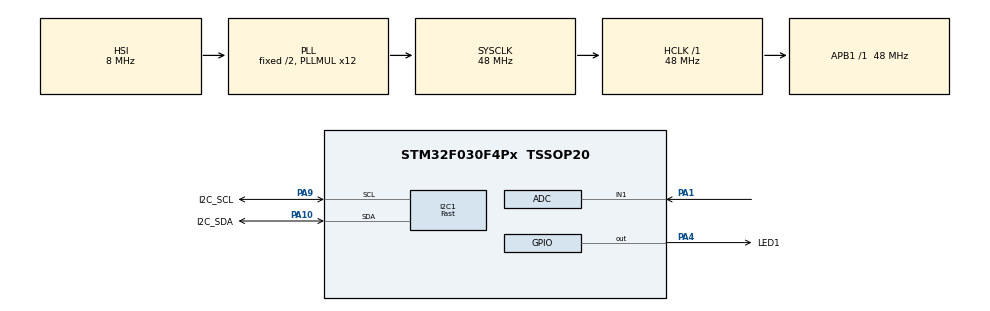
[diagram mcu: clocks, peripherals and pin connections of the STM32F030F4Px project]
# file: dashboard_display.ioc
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ADC.Resolution=ADC_RESOLUTION_8B
FREERTOS.Tasks01=defaultTask,0,96,StartDefaultTask,Default,NULL
I2C1.Analog_Filter=I2C_ANALOGFILTER_DISABLE
I2C1.I2C_Speed_Mode=I2C_Fast
I2C1.NoStretchMode=I2C_NOSTRETCH_ENABLE
I2C1.OwnAddress=0x3b
I2C1.Speed=400
I2C1.Timing=0x00401A58
IWDG.Prescaler=IWDG_PRESCALER_32
IWDG.Reload=250
Mcu.Family=STM32F0
Mcu.Name=STM32F030F4Px
Mcu.Package=TSSOP20
NVIC.I2C1_IRQn=true\:3\:0\:false\:false\:true\:true\:true
NVIC.TIM3_IRQn=true\:0\:0\:false\:false\:true\:false\:false
NVIC.TimeBase=TIM3_IRQn
NVIC.TimeBaseIP=TIM3
PA1.Mode=IN1
PA1.Signal=ADC_IN1
PA10.GPIO_Label=I2C_SDA
PA10.Mode=I2C
PA10.Signal=I2C1_SDA
PA13.Mode=Serial_Wire
PA13.Signal=SYS_SWDIO
PA14.Mode=Serial_Wire
PA14.Signal=SYS_SWCLK
PA4.GPIO_Label=LED1
PA4.Signal=GPIO_Output
PA9.GPIO_Label=I2C_SCL
PA9.Mode=I2C
PA9.Signal=I2C1_SCL
ProjectManager.HeapSize=0x200
ProjectManager.StackSize=0x400
ProjectManager.TargetToolchain=MDK-ARM V5
RCC.AHBFreq_Value=48000000
RCC.APB1Freq_Value=48000000
RCC.APB1TimFreq_Value=48000000
RCC.HCLKFreq_Value=48000000
RCC.I2c1ClockSelection=RCC_I2C1CLKSOURCE_SYSCLK
RCC.PLLMUL=RCC_PLL_MUL12
RCC.SYSCLKFreq_VALUE=48000000
RCC.SYSCLKSource=RCC_SYSCLKSOURCE_PLLCLK
VP_FREERTOS_VS_ENABLE.Mode=Enabled
VP_IWDG_VS_IWDG.Mode=IWDG_Activate
VP_SYS_VS_tim3.Mode=TIM3
board=dashboard_display

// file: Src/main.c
/**
  ******************************************************************************
  * @file           : main.c
  * @brief          : Main program body
  ******************************************************************************
  * This notice applies to any and all portions of this file
  * that are not between comment pairs USER CODE BEGIN and
  * USER CODE END. Other portions of this file, whether
  * inserted by the user or by software development tools
  * are owned by their respective copyright owners.
  *
  * Copyright (c) 2019 STMicroelectronics International N.V.
  * All rights reserved.
  *
  * Redistribution and use in source and binary forms, with or without
  * modification, are permitted, provided that the following conditions are met:
  *
  * 1. Redistribution of source code must retain the above copyright notice,
  *    this list of conditions and the following disclaimer.
  * 2. Redistributions in binary form must reproduce the above copyright notice,
  *    this list of conditions and the following disclaimer in the documentation
  *    and/or other materials provided with the distribution.
  * 3. Neither the name of STMicroelectronics nor the names of other
  *    contributors to this software may be used to endorse or promote products
  *    derived from this software without specific written permission.
  * 4. This software, including modifications and/or derivative works of this
  *    software, must execute solely and exclusively on microcontroller or
  *    microprocessor devices manufactured by or for STMicroelectronics.
  * 5. Redistribution and use of this software other than as permitted under
  *    this license is void and will automatically terminate your rights under
  *    this license.
  *
  * THIS SOFTWARE IS PROVIDED BY STMICROELECTRONICS AND CONTRIBUTORS "AS IS"
  * AND ANY EXPRESS, IMPLIED OR STATUTORY WARRANTIES, INCLUDING, BUT NOT
  * LIMITED TO, THE IMPLIED WARRANTIES OF MERCHANTABILITY, FITNESS FOR A
  * PARTICULAR PURPOSE AND NON-INFRINGEMENT OF THIRD PARTY INTELLECTUAL PROPERTY
  * RIGHTS ARE DISCLAIMED TO THE FULLEST EXTENT PERMITTED BY LAW. IN NO EVENT
  * SHALL STMICROELECTRONICS OR CONTRIBUTORS BE LIABLE FOR ANY DIRECT, INDIRECT,
  * INCIDENTAL, SPECIAL, EXEMPLARY, OR CONSEQUENTIAL DAMAGES (INCLUDING, BUT NOT
  * LIMITED TO, PROCUREMENT OF SUBSTITUTE GOODS OR SERVICES; LOSS OF USE, DATA,
  * OR PROFITS; OR BUSINESS INTERRUPTION) HOWEVER CAUSED AND ON ANY THEORY OF
  * LIABILITY, WHETHER IN CONTRACT, STRICT LIABILITY, OR TORT (INCLUDING
  * NEGLIGENCE OR OTHERWISE) ARISING IN ANY WAY OUT OF THE USE OF THIS SOFTWARE,
  * EVEN IF ADVISED OF THE POSSIBILITY OF SUCH DAMAGE.
  *
  ******************************************************************************
  */
#include "main.h"
#include "stm32f0xx_hal.h"
#include "cmsis_os.h"

/* USER CODE BEGIN Includes */
#include "nokia5110_LCD.h"
#include "stdio.h"
#include "logos.h"
/* USER CODE END Includes */

ADC_HandleTypeDef hadc;

I2C_HandleTypeDef hi2c1;

IWDG_HandleTypeDef hiwdg;

osThreadId defaultTaskHandle;

/* USER CODE BEGIN PV */
/* Private variables ---------------------------------------------------------*/
 uint8_t contrast;
/* USER CODE END PV */

void SystemClock_Config(void);
static void MX_GPIO_Init(void);
static void MX_I2C1_Init(void);
static void MX_IWDG_Init(void);
static void MX_ADC_Init(void);
void StartDefaultTask(void const * argument);

/* USER CODE BEGIN PFP */
/* Private function prototypes -----------------------------------------------*/
uint8_t readADC(void);
void LedBlink(void);
void LCD_Init_Pins(void);
/* USER CODE END PFP */

/* USER CODE BEGIN 0 */
long map(long x, long in_min, long in_max, long out_min, long out_max)
{
	if( x == in_max)
		return out_max;
	else if(out_min < out_max)
		return (x - in_min) * (out_max - out_min+1) / (in_max - in_min) + out_min;
	else
		return (x - in_min) * (out_max - out_min-1) / (in_max - in_min) + out_min;
}
/* USER CODE END 0 */

int main(void)
{

  /* MCU Configuration----------------------------------------------------------*/

  /* Reset of all peripherals, Initializes the Flash interface and the Systick. */
  HAL_Init();

  /* USER CODE BEGIN Init */
  //for (int i=0; i< 48000000/70; i++);
  /* USER CODE END Init */

  /* Configure the system clock */
  SystemClock_Config();

  /* USER CODE BEGIN SysInit */
  //
	MX_ADC_Init();
	uint8_t temp = 0x30 + 	(0xff/(0x40-0x30));

	for (int i=0; i< 48000000/70; i++);
	temp =  readADC();
	contrast = (uint8_t) map(temp, 0L, 0xffL, 0x30L, 0x40L);
  /* USER CODE END SysInit */

  /* Initialize all configured peripherals */
  MX_GPIO_Init();
  MX_I2C1_Init();
  MX_IWDG_Init();

  /* Create the thread(s) */
  /* definition and creation of defaultTask */
  osThreadDef(defaultTask, StartDefaultTask, osPriorityNormal, 0, 96);
  defaultTaskHandle = osThreadCreate(osThread(defaultTask), NULL);

  /* Start scheduler */
  osKernelStart();

  /* We should never get here as control is now taken by the scheduler */

  /* Infinite loop */
  while (1)
  {

  }

}

void SystemClock_Config(void)
{

  RCC_OscInitTypeDef RCC_OscInitStruct;
  RCC_ClkInitTypeDef RCC_ClkInitStruct;
  RCC_PeriphCLKInitTypeDef PeriphClkInit;

    /**Initializes the CPU, AHB and APB busses clocks
    */
  RCC_OscInitStruct.OscillatorType = RCC_OSCILLATORTYPE_HSI|RCC_OSCILLATORTYPE_HSI14
                              |RCC_OSCILLATORTYPE_LSI;
  RCC_OscInitStruct.HSIState = RCC_HSI_ON;
  RCC_OscInitStruct.HSI14State = RCC_HSI14_ON;
  RCC_OscInitStruct.HSICalibrationValue = 16;
  RCC_OscInitStruct.HSI14CalibrationValue = 16;
  RCC_OscInitStruct.LSIState = RCC_LSI_ON;
  RCC_OscInitStruct.PLL.PLLState = RCC_PLL_ON;
  RCC_OscInitStruct.PLL.PLLSource = RCC_PLLSOURCE_HSI;
  RCC_OscInitStruct.PLL.PLLMUL = RCC_PLL_MUL12;
  RCC_OscInitStruct.PLL.PREDIV = RCC_PREDIV_DIV1;
  if (HAL_RCC_OscConfig(&RCC_OscInitStruct) != HAL_OK)
  {
    _Error_Handler(__FILE__, __LINE__);
  }

    /**Initializes the CPU, AHB and APB busses clocks
    */
  RCC_ClkInitStruct.ClockType = RCC_CLOCKTYPE_HCLK|RCC_CLOCKTYPE_SYSCLK
                              |RCC_CLOCKTYPE_PCLK1;
  RCC_ClkInitStruct.SYSCLKSource = RCC_SYSCLKSOURCE_PLLCLK;
  RCC_ClkInitStruct.AHBCLKDivider = RCC_SYSCLK_DIV1;
  RCC_ClkInitStruct.APB1CLKDivider = RCC_HCLK_DIV1;

  if (HAL_RCC_ClockConfig(&RCC_ClkInitStruct, FLASH_LATENCY_1) != HAL_OK)
  {
    _Error_Handler(__FILE__, __LINE__);
  }

  PeriphClkInit.PeriphClockSelection = RCC_PERIPHCLK_I2C1;
  PeriphClkInit.I2c1ClockSelection = RCC_I2C1CLKSOURCE_SYSCLK;
  if (HAL_RCCEx_PeriphCLKConfig(&PeriphClkInit) != HAL_OK)
  {
    _Error_Handler(__FILE__, __LINE__);
  }

    /**Configure the Systick interrupt time
    */
  HAL_SYSTICK_Config(HAL_RCC_GetHCLKFreq()/1000);

    /**Configure the Systick
    */
  HAL_SYSTICK_CLKSourceConfig(SYSTICK_CLKSOURCE_HCLK);

  /* SysTick_IRQn interrupt configuration */
  HAL_NVIC_SetPriority(SysTick_IRQn, 3, 0);
}

/* ADC init function */
static void MX_ADC_Init(void)
{

  ADC_ChannelConfTypeDef sConfig;

    /**Configure the global features of the ADC (Clock, Resolution, Data Alignment and number of conversion)
    */
  hadc.Instance = ADC1;
  hadc.Init.ClockPrescaler = ADC_CLOCK_ASYNC_DIV1;
  hadc.Init.Resolution = ADC_RESOLUTION_8B;
  hadc.Init.DataAlign = ADC_DATAALIGN_RIGHT;
  hadc.Init.ScanConvMode = ADC_SCAN_DIRECTION_FORWARD;
  hadc.Init.EOCSelection = ADC_EOC_SINGLE_CONV;
  hadc.Init.LowPowerAutoWait = DISABLE;
  hadc.Init.LowPowerAutoPowerOff = DISABLE;
  hadc.Init.ContinuousConvMode = DISABLE;
  hadc.Init.DiscontinuousConvMode = DISABLE;
  hadc.Init.ExternalTrigConv = ADC_SOFTWARE_START;
  hadc.Init.ExternalTrigConvEdge = ADC_EXTERNALTRIGCONVEDGE_NONE;
  hadc.Init.DMAContinuousRequests = DISABLE;
  hadc.Init.Overrun = ADC_OVR_DATA_PRESERVED;
  if (HAL_ADC_Init(&hadc) != HAL_OK)
  {
    _Error_Handler(__FILE__, __LINE__);
  }

    /**Configure for the selected ADC regular channel to be converted.
    */
  sConfig.Channel = ADC_CHANNEL_1;
  sConfig.Rank = ADC_RANK_CHANNEL_NUMBER;
  sConfig.SamplingTime = ADC_SAMPLETIME_1CYCLE_5;
  if (HAL_ADC_ConfigChannel(&hadc, &sConfig) != HAL_OK)
  {
    _Error_Handler(__FILE__, __LINE__);
  }

}

/* I2C1 init function */
static void MX_I2C1_Init(void)
{

  hi2c1.Instance = I2C1;
  hi2c1.Init.Timing = 0x00401A58;
  hi2c1.Init.OwnAddress1 = 118;
  hi2c1.Init.AddressingMode = I2C_ADDRESSINGMODE_7BIT;
  hi2c1.Init.DualAddressMode = I2C_DUALADDRESS_DISABLE;
  hi2c1.Init.OwnAddress2 = 0;
  hi2c1.Init.OwnAddress2Masks = I2C_OA2_NOMASK;
  hi2c1.Init.GeneralCallMode = I2C_GENERALCALL_DISABLE;
  hi2c1.Init.NoStretchMode = I2C_NOSTRETCH_ENABLE;
  if (HAL_I2C_Init(&hi2c1) != HAL_OK)
  {
    _Error_Handler(__FILE__, __LINE__);
  }

    /**Configure Analogue filter
    */
  if (HAL_I2CEx_ConfigAnalogFilter(&hi2c1, I2C_ANALOGFILTER_DISABLE) != HAL_OK)
  {
    _Error_Handler(__FILE__, __LINE__);
  }

    /**Configure Digital filter
    */
  if (HAL_I2CEx_ConfigDigitalFilter(&hi2c1, 0) != HAL_OK)
  {
    _Error_Handler(__FILE__, __LINE__);
  }

}

/* IWDG init function */
static void MX_IWDG_Init(void)
{

  hiwdg.Instance = IWDG;
  hiwdg.Init.Prescaler = IWDG_PRESCALER_32;
  hiwdg.Init.Window = 4095;
  hiwdg.Init.Reload = 1000;
  if (HAL_IWDG_Init(&hiwdg) != HAL_OK)
  {
    _Error_Handler(__FILE__, __LINE__);
  }

}

/** Configure pins as
        * Analog
        * Input
        * Output
        * EVENT_OUT
        * EXTI
*/
static void MX_GPIO_Init(void)
{

  GPIO_InitTypeDef GPIO_InitStruct;

  /* GPIO Ports Clock Enable */
  __HAL_RCC_GPIOA_CLK_ENABLE();

  /*Configure GPIO pin Output Level */
  HAL_GPIO_WritePin(LED1_GPIO_Port, LED1_Pin, GPIO_PIN_RESET);

  /*Configure GPIO pin : LED1_Pin */
  GPIO_InitStruct.Pin = LED1_Pin;
  GPIO_InitStruct.Mode = GPIO_MODE_OUTPUT_PP;
  GPIO_InitStruct.Pull = GPIO_NOPULL;
  GPIO_InitStruct.Speed = GPIO_SPEED_FREQ_LOW;
  HAL_GPIO_Init(LED1_GPIO_Port, &GPIO_InitStruct);

}

/* USER CODE BEGIN 4 */
uint8_t readADC(){
  HAL_ADC_Start(&hadc);
  if(HAL_ADC_PollForConversion(&hadc,10000)!=HAL_OK) return 0;

  return (uint8_t)HAL_ADC_GetValue(&hadc);
}
void LCD_Init_Pins(){
  /* GPIO Ports Clock Enable */
  __HAL_RCC_GPIOA_CLK_ENABLE();
    GPIO_InitTypeDef GPIO_InitStruct;

  /*Configure GPIO pin Output Level */
  HAL_GPIO_WritePin(LCD_PORT, LCD_CE|LCD_RST|LCD_DC|LCD_DIN|LCD_CK, GPIO_PIN_RESET);
  /*Configure GPIO pin : LCD_XXX */
  GPIO_InitStruct.Pin = LCD_CE|LCD_RST|LCD_DC|LCD_DIN|LCD_CK;
  GPIO_InitStruct.Mode = GPIO_MODE_OUTPUT_PP;
  GPIO_InitStruct.Pull = GPIO_PULLDOWN;
  GPIO_InitStruct.Speed = GPIO_SPEED_FREQ_LOW;
  HAL_GPIO_Init(LCD_PORT, &GPIO_InitStruct);

  LCD_setRST(LCD_PORT, LCD_RST);
  LCD_setCE(LCD_PORT, LCD_CE);
  LCD_setDC(LCD_PORT, LCD_DC);
  LCD_setDIN(LCD_PORT, LCD_DIN);
  LCD_setCLK(LCD_PORT, LCD_CK);
  LCD_init();
}

uint8_t pdata_1[15];
uint8_t pdata_2[15];
uint8_t pdata_cmd[2];
static uint8_t *pdata=pdata_cmd;
static uint32_t frame_type=I2C_LAST_FRAME;
static uint8_t size=2;

void HAL_I2C_AddrCallback(I2C_HandleTypeDef *hi2c, uint8_t direction, uint16_t addrMatchCode) {
    HAL_I2C_Slave_Sequential_Receive_IT(hi2c, pdata, size, frame_type);
}

void HAL_I2C_SlaveRxCpltCallback(I2C_HandleTypeDef *hi2c) {

  if(pdata_cmd[0] == 0x00)
  {
  switch (pdata_cmd[1])
  {
  case 0x82:
    pdata=pdata_1;
    size=15;
    pdata_cmd[1]=0xC2;
    frame_type=I2C_NEXT_FRAME;
    break;
  case 0xC2:
    pdata=pdata_2;
    size=15;
    pdata_cmd[1]=0;
    frame_type=I2C_NEXT_FRAME;
    break;
  default:
    size=2;
    pdata=pdata_cmd;
    frame_type=I2C_LAST_FRAME;
    HAL_IWDG_Refresh(&hiwdg);
    break;
  }
  }
}

void HAL_I2C_ListenCpltCallback(I2C_HandleTypeDef *hi2c) {
	HAL_I2C_EnableListen_IT(hi2c); // Restart listening
}

void HAL_I2C_ErrorCallback(I2C_HandleTypeDef *hi2c) {
	if (HAL_I2C_GetError(hi2c) != HAL_I2C_ERROR_AF) {
		//Error();
	}
}

#define SLAVE_ADDRESS 0x3b
uint8_t data=0x35;
uint8_t pdisp_buff_1[15];
uint8_t pdisp_buff_2[15];
uint8_t ptest_data[]={0x46, 0x4f, 0x56, 0x5f,0x65, 0x6D,0x75, 0x7D};
void lcd_print_dash_board(char *pd, uint8_t len, uint8_t x, uint8_t y){
  LCD_goXY(x, y);
  do
  {
    dashb_to_lcd_char(*pd);
    len--;
    pd++;
  }
  while(len && pd) ;
}
/* USER CODE END 4 */

/* StartDefaultTask function */
void StartDefaultTask(void const * argument)
{

  /* USER CODE BEGIN 5 */
  /* Infinite loop */
  HAL_IWDG_Refresh(&hiwdg);
  HAL_I2C_EnableListen_IT(&hi2c1);
  HAL_I2C_Slave_Sequential_Receive_IT(&hi2c1, pdata, size, I2C_NEXT_FRAME);
  LCD_Init_Pins();
  HAL_IWDG_Refresh(&hiwdg);
  LCD_drawBitMap((char*)ford_logo_84x48);
  vTaskDelay(900);
  HAL_IWDG_Refresh(&hiwdg);
  LCD_clrScr();
  for(;;)
  {

   HAL_GPIO_WritePin(LED1_GPIO_Port, LED1_Pin, GPIO_PIN_RESET);

   for(int i=0; i< 15; i++){
    pdisp_buff_1[i] = pdata_1[i];
    pdisp_buff_2[i] = pdata_2[i];
   }
   lcd_print_dash_board((char*)(pdisp_buff_1+1), 15, 0, 2);
   lcd_print_dash_board((char*)pdisp_buff_2+1, 15, 0, 3);
   LedBlink();
   vTaskDelay(25);
  }

}
void LedBlink(){
  static uint32_t delay = 50;
  static GPIO_PinState state = GPIO_PIN_SET;
  static uint32_t last_tick =0;

  if(xTaskGetTickCount() - last_tick > delay)
  {
    last_tick=xTaskGetTickCount();
    HAL_GPIO_WritePin(LED1_GPIO_Port,LED1_Pin, state);
    state = !state;
    if(state) delay = 25;
    else delay = 3975;
  }
}

  /* USER CODE END 5 */

void HAL_TIM_PeriodElapsedCallback(TIM_HandleTypeDef *htim)
{
  if (htim->Instance == TIM3) {
    HAL_IncTick();
  }
}

void _Error_Handler(char *file, int line)
{
  while(1)
  {
  }
}

/************************ (C) COPYRIGHT STMicroelectronics *****END OF FILE****/
